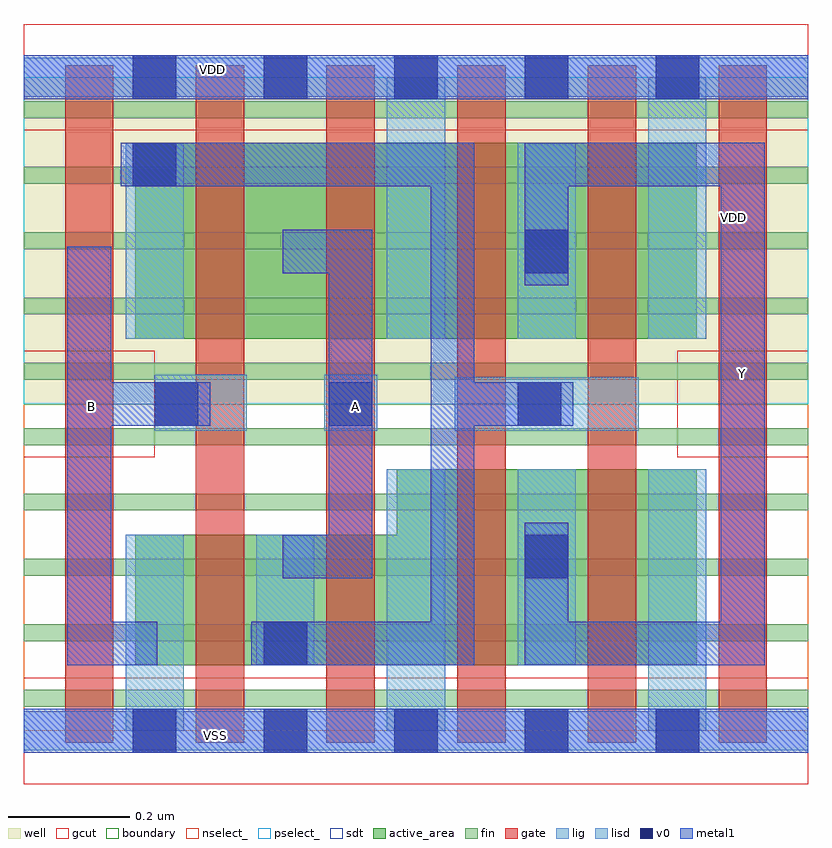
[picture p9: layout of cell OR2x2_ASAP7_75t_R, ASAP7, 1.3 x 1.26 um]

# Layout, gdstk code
import gdstk
lib = gdstk.Library(unit=1e-6, precision=2.5e-10)
def R(c, l, rs):  # rectangles x0, y0, x1, y1
    for r in rs: c.add(gdstk.rectangle(r[:2], r[2:], *l))
def A(c, l, x, y, w, h, nx, ny, dx, dy):  # array of equal rectangles
    R(c, l, [(x+i*dx, y+j*dy, x+i*dx+w, y+j*dy+h) for i in range(nx) for j in range(ny)])
def P(c, l, *ps):  # polygons
    for p in ps: c.add(gdstk.Polygon(p, *l))
well = (1, 0)
fin = (2, 0)
gate = (7, 0)
gcut = (10, 0)
active_area = (11, 0)
nselect_ = (12, 0)
pselect_ = (13, 0)
lig = (16, 0)
lisd = (17, 0)
v0 = (18, 0)
metal1 = (19, 0)
sdt = (88, 0)
boundary = (100, 0)

or2x2_asap7_75t_r = lib.new_cell('OR2x2_ASAP7_75t_R')
R(or2x2_asap7_75t_r, well, [(0,0.54,1.296,1.08)])
A(or2x2_asap7_75t_r, fin, 0, 0.04, 1.296, 0.028, 1, 10, 0, 0.108)
A(or2x2_asap7_75t_r, gate, 0.068, -0.02, 0.08, 1.12, 6, 1, 0.216, 0)
R(or2x2_asap7_75t_r, gcut, [(0,-0.088,1.296,0.088), (0,0.452,0.216,0.628), (1.08,0.452,1.296,0.628), (0,0.992,1.296,1.168)])
R(or2x2_asap7_75t_r, active_area, [(0.184,0.648,1.112,0.972)])
P(or2x2_asap7_75t_r, active_area, [(0.184,0.108),(0.184,0.324),(0.616,0.324),(0.616,0.432),(1.112,0.432),(1.112,0.108)])
R(or2x2_asap7_75t_r, nselect_, [(0,0,1.296,0.54)])
R(or2x2_asap7_75t_r, pselect_, [(0,0.54,1.296,1.08)])
R(or2x2_asap7_75t_r, lig, [(0,-0.032,1.296,0.032), (0.216,0.496,0.368,0.588), (0.496,0.496,0.584,0.588), (0.712,0.496,1.016,0.584), (0,1.048,1.296,1.112)])
R(or2x2_asap7_75t_r, lisd, [(0.168,0,0.264,0.324), (0.6,0,0.696,0.432), (1.032,0,1.128,0.432), (0.384,0.108,0.48,0.324), (0.816,0.108,0.912,0.432), (0.168,0.648,0.264,0.972), (0.6,0.648,0.696,1.08), (0.816,0.648,0.912,0.972), (1.032,0.648,1.128,1.08)])
A(or2x2_asap7_75t_r, v0, 0.18, -0.036, 0.072, 0.072, 5, 2, 0.216, 1.08)
R(or2x2_asap7_75t_r, v0, [(0.396,0.108,0.468,0.18), (0.828,0.252,0.9,0.324), (0.216,0.504,0.288,0.576), (0.504,0.504,0.576,0.576), (0.816,0.504,0.888,0.576), (0.828,0.756,0.9,0.828), (0.18,0.9,0.252,0.972)])
R(or2x2_asap7_75t_r, metal1, [(0,-0.036,1.296,0.036), (0,1.044,1.296,1.116)])
P(or2x2_asap7_75t_r, metal1, [(0.072,0.108),(0.072,0.8),(0.144,0.8),(0.144,0.576),(0.308,0.576),(0.308,0.504),(0.144,0.504),(0.144,0.18),(0.22,0.18),(0.22,0.108)],
  [(0.428,0.252),(0.428,0.324),(0.504,0.324),(0.504,0.756),(0.428,0.756),(0.428,0.828),(0.576,0.828),(0.576,0.252)],
  [(0.376,0.108),(0.376,0.18),(0.672,0.18),(0.672,0.9),(0.16,0.9),(0.16,0.972),(0.744,0.972),(0.744,0.576),(0.908,0.576),(0.908,0.504),(0.744,0.504),(0.744,0.108)],
  [(0.828,0.108),(0.828,0.344),(0.9,0.344),(0.9,0.18),(1.152,0.18),(1.152,0.9),(0.9,0.9),(0.9,0.736),(0.828,0.736),(0.828,0.972),(1.224,0.972),(1.224,0.108)])
A(or2x2_asap7_75t_r, sdt, 0.6, 0.108, 0.096, 0.324, 3, 2, 0.216, 0.54)
R(or2x2_asap7_75t_r, sdt, [(0.168,0.108,0.264,0.324), (0.384,0.108,0.48,0.324), (0.168,0.648,0.264,0.972)])
R(or2x2_asap7_75t_r, boundary, [(0,0,1.296,1.08)])
or2x2_asap7_75t_r.add(gdstk.Label('Y', (1.188,0.59), layer=19, texttype=251))
or2x2_asap7_75t_r.add(gdstk.Label('B', (0.112,0.536), layer=19, texttype=251))
or2x2_asap7_75t_r.add(gdstk.Label('A', (0.548,0.536), layer=19, texttype=251))
or2x2_asap7_75t_r.add(gdstk.Label('VSS', (0.316,-0.008), layer=19, texttype=251))
or2x2_asap7_75t_r.add(gdstk.Label('VDD', (0.312,1.092), layer=19, texttype=251))
or2x2_asap7_75t_r.add(gdstk.Label('VDD', (1.172,0.848), layer=1, texttype=251))
or2x2_asap7_75t_r.add(gdstk.Label('VSS', (1.448,0.844), layer=3, texttype=251))

lib.write_gds('OR2x2_ASAP7_75t_R.gds')
